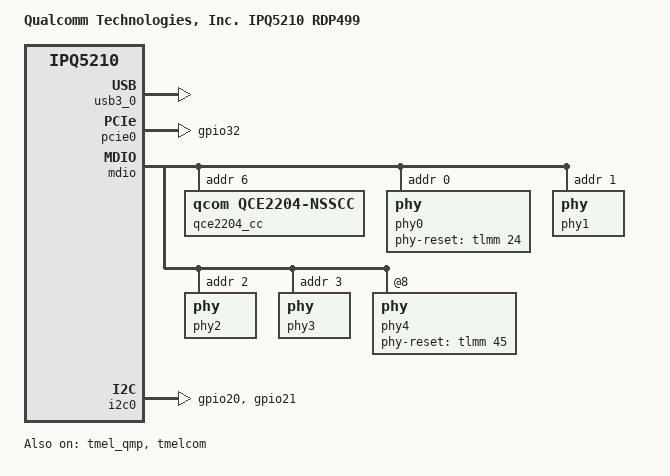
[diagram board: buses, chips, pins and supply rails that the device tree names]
// SPDX-License-Identifier: GPL-2.0-only
/*
 * Copyright (c) Qualcomm Technologies, Inc. and/or its subsidiaries.
 */

/dts-v1/;

#include "ipq5210-u-boot.dtsi"
#include <asm/arch/dt-bindings/clock/qcom,qce2204-nsscc.h>
#include <asm/arch/dt-bindings/reset/qcom,qce2204-nsscc.h>

/ {
	model = "Qualcomm Technologies, Inc. IPQ5210 RDP499";
	compatible = "qcom,ipq5210-rdp499", "qcom,ipq5210";

	aliases {
		serial0 = &uart1;
	};

	soc@0 {
		qmp_ssphy_0: ssphy@7D000 {
			status = "okay";
		};

		qusb2_phy_0: qusb2_0@7B000 {
			status = "okay";
		};

		usb3_0: usb3_0@8af8800 {
			status = "okay";
		};

		pcie0_phy: phy@84000 {
			status = "okay";
		};

		pcie0: pcie@70000000 {
			pinctrl-0 = <&pcie0_default_state>;
			pinctrl-names = "default";
			perst-gpios = <&tlmm 32 GPIO_ACTIVE_LOW>;
			status = "okay";
		};

		mdio: mdio@90000 {
			status = "okay";

			qce2204_cc: clock-controller@6 {
				compatible = "qcom,qce2204-nsscc";
				reg = <6 0>;
				#clock-cells = <1>;
				#reset-cells = <1>;
			};

			phy0: phy@0 {
				phy-reset-gpio = <&tlmm 24 0>;
				reg = <0 0>;
				phy_addr = <0>;
				phy_type = <QCE1204_PHY_TYPE>;
				id = <1>;
				uniphy_id = <0>;
				uniphy_type = <0>;
				qcom,package-mode = "qusgmii";
				base_addr = <0>;

				/* Per-PHY clocks */
				clocks = <&qce2204_cc QCE2204_NSSCC_SRDS1_SYS_CLK>,
					<&qce2204_cc QCE2204_NSSCC_MAC1_GEPHY0_TX_CLK>,
					<&qce2204_cc QCE2204_NSSCC_MAC1_GEPHY0_RX_CLK>,
					<&qce2204_cc QCE2204_NSSCC_GEPHY0_SYS_CLK>,
					/* Shared clocks for package */
					<&qce2204_cc QCE2204_NSSCC_MAC1_SRDS1_CH0_TX_CLK>,
					<&qce2204_cc QCE2204_NSSCC_MAC1_SRDS1_CH0_RX_CLK>,
					<&qce2204_cc QCE2204_NSSCC_MAC0_1_SRDS1_CH0_XGMII_TX_CLK>,
					<&qce2204_cc QCE2204_NSSCC_MAC0_1_SRDS1_CH0_XGMII_RX_CLK>,
					<&qce2204_cc QCE2204_NSSCC_MAC2_SRDS1_CH1_TX_CLK>,
					<&qce2204_cc QCE2204_NSSCC_MAC2_SRDS1_CH1_RX_CLK>,
					<&qce2204_cc QCE2204_NSSCC_MAC2_SRDS1_CH1_XGMII_TX_CLK>,
					<&qce2204_cc QCE2204_NSSCC_MAC2_SRDS1_CH1_XGMII_RX_CLK>,
					<&qce2204_cc QCE2204_NSSCC_MAC3_SRDS1_CH2_TX_CLK>,
					<&qce2204_cc QCE2204_NSSCC_MAC3_SRDS1_CH2_RX_CLK>,
					<&qce2204_cc QCE2204_NSSCC_MAC3_SRDS1_CH2_XGMII_TX_CLK>,
					<&qce2204_cc QCE2204_NSSCC_MAC3_SRDS1_CH2_XGMII_RX_CLK>,
					<&qce2204_cc QCE2204_NSSCC_MAC4_SRDS1_CH3_TX_CLK>,
					<&qce2204_cc QCE2204_NSSCC_MAC4_SRDS1_CH3_RX_CLK>,
					<&qce2204_cc QCE2204_NSSCC_MAC4_SRDS1_CH3_XGMII_TX_CLK>,
					<&qce2204_cc QCE2204_NSSCC_MAC4_SRDS1_CH3_XGMII_RX_CLK>,
					<&qce2204_cc QCE2204_NSSCC_AHB_CLK>,
					<&qce2204_cc QCE2204_NSSCC_SRDS1_RX_MUX_SEL>,
					<&qce2204_cc QCE2204_NSSCC_SRDS1_TX_MUX_SEL>,
					<&qce2204_cc QCE2204_NSSCC_SRDS1_XGMII_RX_MUX_SEL>,
					<&qce2204_cc QCE2204_NSSCC_SRDS1_XGMII_TX_MUX_SEL>;
				clock-names = "pcs_sys_clk", "tx_clk", "rx_clk", "sys_clk",
					"ch0_gmii_tx_clk",
					"ch0_gmii_rx_clk",
					"ch0_xgmii_tx_clk",
					"ch0_xgmii_rx_clk",
					"ch1_gmii_tx_clk",
					"ch1_gmii_rx_clk",
					"ch1_xgmii_tx_clk",
					"ch1_xgmii_rx_clk",
					"ch2_gmii_tx_clk",
					"ch2_gmii_rx_clk",
					"ch2_xgmii_tx_clk",
					"ch2_xgmii_rx_clk",
					"ch3_gmii_tx_clk",
					"ch3_gmii_rx_clk",
					"ch3_xgmii_tx_clk",
					"ch3_xgmii_rx_clk",
					"ahb_clk",
					"srds1_rx_mux",
					"srds1_tx_mux",
					"srds1_xgmii_rx_mux",
					"srds1_xgmii_tx_mux";

				/* Per-PHY resets */
				resets = <&qce2204_cc QCE2204_NSSCC_SRDS1_SYS_ARES>,
					<&qce2204_cc QCE2204_NSSCC_MAC1_GEPHY0_TX_ARES>,
					<&qce2204_cc QCE2204_NSSCC_MAC1_GEPHY0_RX_ARES>,
					<&qce2204_cc QCE2204_NSSCC_GEPHY0_SYS_ARES>,
					/* Shared resets for package */
					<&qce2204_cc QCE2204_NSSCC_MAC1_SRDS1_CH0_TX_ARES>,
					<&qce2204_cc QCE2204_NSSCC_MAC1_SRDS1_CH0_RX_ARES>,
					<&qce2204_cc QCE2204_NSSCC_MAC0_1_SRDS1_CH0_XGMII_TX_ARES>,
					<&qce2204_cc QCE2204_NSSCC_MAC0_1_SRDS1_CH0_XGMII_RX_ARES>,
					<&qce2204_cc QCE2204_NSSCC_MAC2_SRDS1_CH1_TX_ARES>,
					<&qce2204_cc QCE2204_NSSCC_MAC2_SRDS1_CH1_RX_ARES>,
					<&qce2204_cc QCE2204_NSSCC_MAC2_SRDS1_CH1_XGMII_TX_ARES>,
					<&qce2204_cc QCE2204_NSSCC_MAC2_SRDS1_CH1_XGMII_RX_ARES>,
					<&qce2204_cc QCE2204_NSSCC_MAC3_SRDS1_CH2_TX_ARES>,
					<&qce2204_cc QCE2204_NSSCC_MAC3_SRDS1_CH2_RX_ARES>,
					<&qce2204_cc QCE2204_NSSCC_MAC3_SRDS1_CH2_XGMII_TX_ARES>,
					<&qce2204_cc QCE2204_NSSCC_MAC3_SRDS1_CH2_XGMII_RX_ARES>,
					<&qce2204_cc QCE2204_NSSCC_MAC4_SRDS1_CH3_TX_ARES>,
					<&qce2204_cc QCE2204_NSSCC_MAC4_SRDS1_CH3_RX_ARES>,
					<&qce2204_cc QCE2204_NSSCC_MAC4_SRDS1_CH3_XGMII_TX_ARES>,
					<&qce2204_cc QCE2204_NSSCC_MAC4_SRDS1_CH3_XGMII_RX_ARES>,
					<&qce2204_cc QCE2204_NSSCC_SRDS1_XPCS_ARES>,
					<&qce2204_cc QCE2204_NSSCC_SWITCH_BTQ_ARES>,
					<&qce2204_cc QCE2204_NSSCC_SWITCH_CFG_ARES>,
					<&qce2204_cc QCE2204_NSSCC_SWITCH_CORE_ARES>,
					<&qce2204_cc QCE2204_NSSCC_SWITCH_IPE_ARES>,
					<&qce2204_cc QCE2204_NSSCC_SWITCH_MAC0_ARES>,
					<&qce2204_cc QCE2204_NSSCC_SWITCH_MAC1_ARES>,
					<&qce2204_cc QCE2204_NSSCC_SWITCH_MAC2_ARES>,
					<&qce2204_cc QCE2204_NSSCC_SWITCH_MAC3_ARES>,
					<&qce2204_cc QCE2204_NSSCC_SWITCH_MAC4_ARES>,
					<&qce2204_cc QCE2204_NSSCC_SWITCH_MAC5_ARES>,
					<&qce2204_cc QCE2204_NSSCC_XGMAC0_PTP_REF_ARES>,
					<&qce2204_cc QCE2204_NSSCC_XGMAC1_PTP_REF_ARES>,
					<&qce2204_cc QCE2204_NSSCC_MAC0_TX_ARES>,
					<&qce2204_cc QCE2204_NSSCC_MAC0_RX_ARES>,
					<&qce2204_cc QCE2204_NSSCC_MAC1_TX_ARES>,
					<&qce2204_cc QCE2204_NSSCC_MAC1_RX_ARES>,
					<&qce2204_cc QCE2204_NSSCC_MAC2_TX_ARES>,
					<&qce2204_cc QCE2204_NSSCC_MAC2_RX_ARES>,
					<&qce2204_cc QCE2204_NSSCC_MAC3_TX_ARES>,
					<&qce2204_cc QCE2204_NSSCC_MAC3_RX_ARES>,
					<&qce2204_cc QCE2204_NSSCC_MAC4_TX_ARES>,
					<&qce2204_cc QCE2204_NSSCC_MAC4_RX_ARES>,
					<&qce2204_cc QCE2204_NSSCC_MAC5_TX_ARES>,
					<&qce2204_cc QCE2204_NSSCC_MAC5_RX_ARES>;
				reset-names = "pcs_sys_reset", "tx_reset", "rx_reset", "sys_reset",
					"ch0_gmii_tx_reset",
					"ch0_gmii_rx_reset",
					"ch0_xgmii_tx_reset",
					"ch0_xgmii_rx_reset",
					"ch1_gmii_tx_reset",
					"ch1_gmii_rx_reset",
					"ch1_xgmii_tx_reset",
					"ch1_xgmii_rx_reset",
					"ch2_gmii_tx_reset",
					"ch2_gmii_rx_reset",
					"ch2_xgmii_tx_reset",
					"ch2_xgmii_rx_reset",
					"ch3_gmii_tx_reset",
					"ch3_gmii_rx_reset",
					"ch3_xgmii_tx_reset",
					"ch3_xgmii_rx_reset",
					"xpcs",
					"switch_btq_reset",
					"switch_cfg_reset",
					"switch_core_reset",
					"switch_ipe_reset",
					"switch_mac0_reset",
					"switch_mac1_reset",
					"switch_mac2_reset",
					"switch_mac3_reset",
					"switch_mac4_reset",
					"switch_mac5_reset",
					"xgmac0_ptp_ref_reset",
					"xgmac1_ptp_ref_reset",
					"mac0_tx_reset",
					"mac0_rx_reset",
					"mac1_tx_reset",
					"mac1_rx_reset",
					"mac2_tx_reset",
					"mac2_rx_reset",
					"mac3_tx_reset",
					"mac3_rx_reset",
					"mac4_tx_reset",
					"mac4_rx_reset",
					"mac5_tx_reset",
					"mac5_rx_reset";
			};

			phy1: phy@1 {
				reg = <1 0>;
				phy_addr = <1>;
				phy_type = <QCE1204_PHY_TYPE>;
				id = <2>;
				uniphy_id = <0>;
				uniphy_type = <0>;
				qcom,package-mode = "qusgmii";

				clocks = <&qce2204_cc QCE2204_NSSCC_MAC2_GEPHY1_TX_CLK>,
					<&qce2204_cc QCE2204_NSSCC_MAC2_GEPHY1_RX_CLK>,
					<&qce2204_cc QCE2204_NSSCC_GEPHY1_SYS_CLK>;
				clock-names = "tx_clk", "rx_clk", "sys_clk";

				resets = <&qce2204_cc QCE2204_NSSCC_MAC2_GEPHY1_TX_ARES>,
					<&qce2204_cc QCE2204_NSSCC_MAC2_GEPHY1_RX_ARES>,
					<&qce2204_cc QCE2204_NSSCC_GEPHY1_SYS_ARES>;
				reset-names = "tx_reset", "rx_reset", "sys_reset";
			};

			phy2: phy@2 {
				reg = <2 0>;
				phy_addr = <2>;
				phy_type = <QCE1204_PHY_TYPE>;
				id = <3>;
				uniphy_id = <0>;
				uniphy_type = <0>;
				qcom,package-mode = "qusgmii";

				clocks = <&qce2204_cc QCE2204_NSSCC_MAC3_GEPHY2_TX_CLK>,
					<&qce2204_cc QCE2204_NSSCC_MAC3_GEPHY2_RX_CLK>,
					<&qce2204_cc QCE2204_NSSCC_GEPHY2_SYS_CLK>;
				clock-names = "tx_clk", "rx_clk", "sys_clk";

				resets = <&qce2204_cc QCE2204_NSSCC_MAC3_GEPHY2_TX_ARES>,
					<&qce2204_cc QCE2204_NSSCC_MAC3_GEPHY2_RX_ARES>,
					<&qce2204_cc QCE2204_NSSCC_GEPHY2_SYS_ARES>;
				reset-names = "tx_reset", "rx_reset", "sys_reset";
			};

			phy3: phy@3 {
				reg = <3 0>;
				phy_addr = <3>;
				phy_type = <QCE1204_PHY_TYPE>;
				id = <4>;
				uniphy_id = <0>;
				uniphy_type = <0>;
				qcom,package-mode = "qusgmii";

				clocks = <&qce2204_cc QCE2204_NSSCC_MAC4_GEPHY3_TX_CLK>,
					<&qce2204_cc QCE2204_NSSCC_MAC4_GEPHY3_RX_CLK>,
					<&qce2204_cc QCE2204_NSSCC_GEPHY3_SYS_CLK>;
				clock-names = "tx_clk", "rx_clk", "sys_clk";

				resets = <&qce2204_cc QCE2204_NSSCC_MAC4_GEPHY3_TX_ARES>,
					<&qce2204_cc QCE2204_NSSCC_MAC4_GEPHY3_RX_ARES>,
					<&qce2204_cc QCE2204_NSSCC_GEPHY3_SYS_ARES>;
				reset-names = "tx_reset", "rx_reset", "sys_reset";
			};

			phy4: phy@8 {
				phy-reset-gpio = <&tlmm 45 0>;
				phy_addr = <8>;
				phy_type = <QCA81xx_PHY_TYPE>;
				id = <5>;
				uniphy_id = <1>;
				uniphy_type = <1>;
				xgmac;
			};
		};

		ess_instance: ess-instance {
			pinctrl-names = "default";
			pinctrl-0 = <&phy_rst_pinmux>;
			phy-handle0 = <&phy0>;
			phy-handle1 = <&phy1>;
			phy-handle2 = <&phy2>;
			phy-handle3 = <&phy3>;
			phy-handle4 = <&phy4>;
			status = "okay";
		};
	};
};

&tlmm {
	pcie0_default_state: pcie0-default-state {
		perst-n-pins {
			pins = "gpio32";
			function = "gpio";
			drive-strength = <6>;
			bias-pull-down;
			output-low;
		};
	};

	phy_rst_pinmux: phy_rst {
		qti_htt_rst {
			pins = "gpio24";
			function = "gpio";
			drive-strength = <2>;
			bias-pull-up;
			output-high;
		};
		qti_laguna0_rst {
			pins = "gpio45";
			function = "gpio";
			drive-strength = <2>;
			bias-pull-up;
			output-low;
		};
	};

	i2c0_pinmux: i2c0 {
		i2c0_scl {
			pins = "gpio20";
			function = "qup_se2_l1";
			drive-strength = <8>;
			bias-disable;
		};

		i2c0_sda {
			pins = "gpio21";
			function = "qup_se2_l0";
			drive-strength = <8>;
			bias-disable;
		};
	};
};

&qupv3 {
	i2c0: i2c@1a88000 {
		pinctrl-0 = <&i2c0_pinmux>;
		pinctrl-names = "default";
		status = "okay";
	};
};

&tmel_qmp {
	status = "okay";
};

&tmelcom {
	status = "okay";
};
